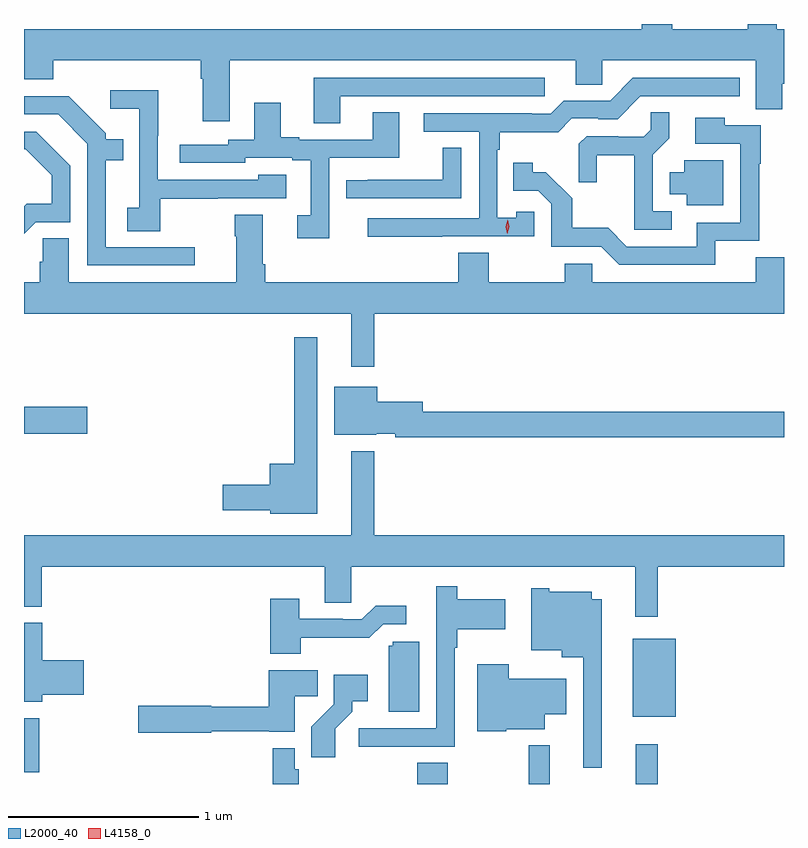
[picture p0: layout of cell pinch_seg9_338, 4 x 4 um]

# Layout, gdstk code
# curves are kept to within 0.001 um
import gdstk
lib = gdstk.Library(unit=1e-6, precision=1e-09)
def R(c, l, rs):  # rectangles x0, y0, x1, y1
    for r in rs: c.add(gdstk.rectangle(r[:2], r[2:], *l))
def P(c, l, *ps):  # polygons
    for p in ps: c.add(gdstk.Polygon(p, *l))
L2000_40 = (2000, 40)
L4158_0 = (4158, 0)

pinch_seg9_338 = lib.new_cell('pinch_seg9_338')
R(pinch_seg9_338, L2000_40, [(542.429,1197.94,542.589,1198.052), (543.015,1197.94,543.125,1198.144), (543.578,1197.94,543.695,1198.15), (540.359,1198.002,540.44,1198.287), (543.563,1198.295,543.79,1198.705), (540.359,1199.783,540.691,1199.925)])
P(pinch_seg9_338, L2000_40, [(541.441,1201.748),(543.263,1201.748),(543.263,1201.621),(543.402,1201.621),(543.402,1201.748),(544.211,1201.748),(544.211,1201.492),(544.351,1201.492),(544.351,1201.626),(544.359,1201.626),(544.359,1201.912),(544.322,1201.912),(544.322,1201.94),(544.168,1201.94),(544.168,1201.912),(543.77,1201.912),(543.77,1201.94),(543.611,1201.94),(543.611,1201.912),(540.359,1201.912),(540.359,1201.649),(540.512,1201.649),(540.512,1201.748),(541.289,1201.748),(541.289,1201.652),(541.301,1201.652),(541.301,1201.428),(541.441,1201.428)],
  [(542.023,1201.56),(543.1,1201.56),(543.1,1201.656),(541.883,1201.656),(541.883,1201.417),(542.023,1201.417)],
  [(542.561,1200.822),(543.045,1200.822),(543.045,1200.951),(542.949,1200.951),(542.949,1200.919),(542.85,1200.919),(542.85,1201.277),(542.863,1201.277),(542.863,1201.37),(543.17,1201.37),(543.243,1201.443),(543.382,1201.443),(543.382,1201.44),(543.483,1201.44),(543.603,1201.56),(544.126,1201.56),(544.126,1201.656),(543.564,1201.656),(543.444,1201.536),(543.201,1201.536),(543.132,1201.467),(543.032,1201.467),(543.032,1201.47),(542.463,1201.47),(542.463,1201.374),(542.754,1201.374),(542.754,1200.918),(542.169,1200.918),(542.169,1200.82),(542.561,1200.82)],
  [(541.075,1201.021),(541.379,1201.021),(541.379,1201.023),(541.738,1201.023),(541.738,1201.147),(541.593,1201.147),(541.593,1201.119),(541.062,1201.119),(541.062,1201.352),(541.065,1201.352),(541.065,1201.591),(540.813,1201.591),(540.813,1201.493),(540.966,1201.493),(540.966,1200.972),(540.903,1200.972),(540.903,1200.85),(541.075,1200.85)],
  [(541.258,1200.765),(540.79,1200.765),(540.79,1201.224),(540.881,1201.224),(540.881,1201.333),(540.789,1201.333),(540.789,1201.365),(540.594,1201.56),(540.359,1201.56),(540.359,1201.464),(540.54,1201.464),(540.693,1201.311),(540.693,1200.669),(541.258,1200.669)],
  [(541.965,1201.236),(542.335,1201.236),(542.335,1201.475),(542.195,1201.475),(542.195,1201.332),(541.807,1201.332),(541.807,1201.345),(541.711,1201.345),(541.711,1201.525),(541.571,1201.525),(541.571,1201.332),(541.434,1201.332),(541.434,1201.305),(541.179,1201.305),(541.179,1201.209),(541.524,1201.209),(541.524,1201.236),(541.772,1201.236),(541.772,1201.224),(541.868,1201.224),(541.868,1200.933),(541.797,1200.933),(541.797,1200.813),(541.965,1200.813)],
  [(543.769,1200.954),(543.669,1200.954),(543.669,1201.253),(543.755,1201.339),(543.755,1201.475),(543.657,1201.475),(543.657,1201.384),(543.62,1201.347),(543.486,1201.347),(543.486,1201.35),(543.321,1201.35),(543.28,1201.309),(543.28,1201.107),(543.374,1201.107),(543.374,1201.25),(543.572,1201.25),(543.572,1200.858),(543.769,1200.858)],
  [(543.998,1200.798),(544.229,1200.798),(544.229,1201.204),(544.237,1201.204),(544.237,1201.407),(544.047,1201.407),(544.047,1201.447),(543.891,1201.447),(543.891,1201.311),(544.128,1201.311),(544.128,1200.894),(543.899,1200.894),(543.899,1200.768),(543.531,1200.768),(543.433,1200.867),(543.244,1200.867),(543.244,1201.022),(543.106,1201.16),(543.036,1201.16),(543.036,1201.21),(542.935,1201.21),(542.935,1201.062),(543.066,1201.062),(543.135,1200.993),(543.135,1200.768),(543.396,1200.768),(543.492,1200.672),(543.998,1200.672)],
  [(540.42,1200.897),(540.603,1200.897),(540.603,1201.195),(540.424,1201.374),(540.359,1201.374),(540.359,1201.281),(540.369,1201.281),(540.506,1201.144),(540.506,1200.994),(540.373,1200.994),(540.359,1200.98),(540.359,1200.836)],
  [(542.661,1201.289),(542.563,1201.289),(542.563,1201.119),(542.167,1201.119),(542.167,1201.118),(542.055,1201.118),(542.055,1201.023),(542.661,1201.023)],
  [(544.039,1201.222),(543.833,1201.222),(543.833,1201.159),(543.758,1201.159),(543.758,1201.043),(543.848,1201.043),(543.848,1200.986),(544.039,1200.986)],
  [(542.203,1200.416),(544.359,1200.416),(544.359,1200.713),(544.211,1200.713),(544.211,1200.58),(543.351,1200.58),(543.351,1200.678),(543.205,1200.678),(543.205,1200.58),(542.805,1200.58),(542.805,1200.737),(542.645,1200.737),(542.645,1200.58),(541.628,1200.58),(541.628,1200.676),(541.615,1200.676),(541.615,1200.937),(541.468,1200.937),(541.468,1200.824),(541.475,1200.824),(541.475,1200.58),(540.595,1200.58),(540.595,1200.812),(540.457,1200.812),(540.457,1200.69),(540.443,1200.69),(540.443,1200.58),(540.359,1200.58),(540.359,1200.416),(542.081,1200.416),(542.081,1200.135),(542.203,1200.135)],
  [(541.903,1200.292),(541.782,1200.292),(541.782,1199.626),(541.652,1199.626),(541.652,1199.516),(541.404,1199.516),(541.404,1199.381),(541.656,1199.381),(541.656,1199.363),(541.903,1199.363)],
  [(544.359,1199.9),(542.458,1199.9),(542.458,1199.953),(542.218,1199.953),(542.218,1200.031),(541.991,1200.031),(541.991,1199.777),(542.214,1199.777),(542.214,1199.783),(542.314,1199.783),(542.314,1199.764),(544.359,1199.764)],
  [(543.695,1199.084),(544.359,1199.084),(544.359,1199.248),(542.203,1199.248),(542.203,1199.692),(542.081,1199.692),(542.081,1199.248),(540.359,1199.248),(540.359,1198.873),(540.452,1198.873),(540.452,1199.084),(541.943,1199.084),(541.943,1198.894),(542.082,1198.894),(542.082,1199.084),(543.577,1199.084),(543.577,1198.821),(543.695,1198.821)],
  [(542.345,1198.137),(542.625,1198.137),(542.625,1198.658),(542.638,1198.658),(542.638,1198.754),(542.893,1198.754),(542.893,1198.912),(542.638,1198.912),(542.638,1198.981),(542.528,1198.981),(542.528,1198.758),(542.529,1198.758),(542.529,1198.233),(542.121,1198.233),(542.121,1198.135),(542.345,1198.135)],
  [(543.4,1198.912),(543.346,1198.912),(543.346,1198.951),(543.123,1198.951),(543.123,1198.969),(543.029,1198.969),(543.029,1198.643),(543.188,1198.643),(543.188,1198.607),(543.303,1198.607),(543.303,1198.026),(543.4,1198.026)],
  [(541.815,1198.71),(542.177,1198.709),(542.25,1198.782),(542.371,1198.782),(542.371,1198.879),(542.209,1198.879),(542.136,1198.806),(542.036,1198.806),(542.036,1198.809),(541.807,1198.809),(541.807,1198.915),(541.655,1198.915),(541.655,1198.625),(541.815,1198.625)],
  [(540.455,1198.409),(540.673,1198.409),(540.673,1198.592),(540.455,1198.592),(540.455,1198.788),(540.359,1198.788),(540.359,1198.372),(540.455,1198.372)],
  [(542.44,1198.689),(542.301,1198.689),(542.301,1198.668),(542.279,1198.668),(542.279,1198.32),(542.44,1198.32)],
  [(542.898,1198.229),(543.1,1198.229),(543.1,1198.307),(543.214,1198.307),(543.214,1198.495),(542.91,1198.495),(542.91,1198.57),(542.744,1198.57),(542.744,1198.217),(542.898,1198.217)],
  [(541.344,1198.218),(541.65,1198.218),(541.65,1198.214),(541.783,1198.214),(541.783,1198.402),(541.904,1198.402),(541.904,1198.54),(541.646,1198.54),(541.646,1198.346),(541.344,1198.346),(541.344,1198.352),(540.96,1198.352),(540.96,1198.21),(541.344,1198.21)],
  [(541.996,1198.231),(542.086,1198.321),(542.086,1198.376),(542.167,1198.376),(542.167,1198.516),(541.989,1198.516),(541.989,1198.361),(541.87,1198.242),(541.87,1198.08),(541.996,1198.08)],
  [(541.805,1198.017),(541.785,1198.017),(541.785,1198.129),(541.669,1198.129),(541.669,1197.94),(541.805,1197.94)])
P(pinch_seg9_338, L4158_0, [(542.902,1200.837),(542.902,1200.837),(542.894,1200.874),(542.905,1200.909),(542.905,1200.909),(542.905,1200.909),(542.913,1200.873),(542.902,1200.837)])

lib.write_gds('pinch_seg9_338.gds')
